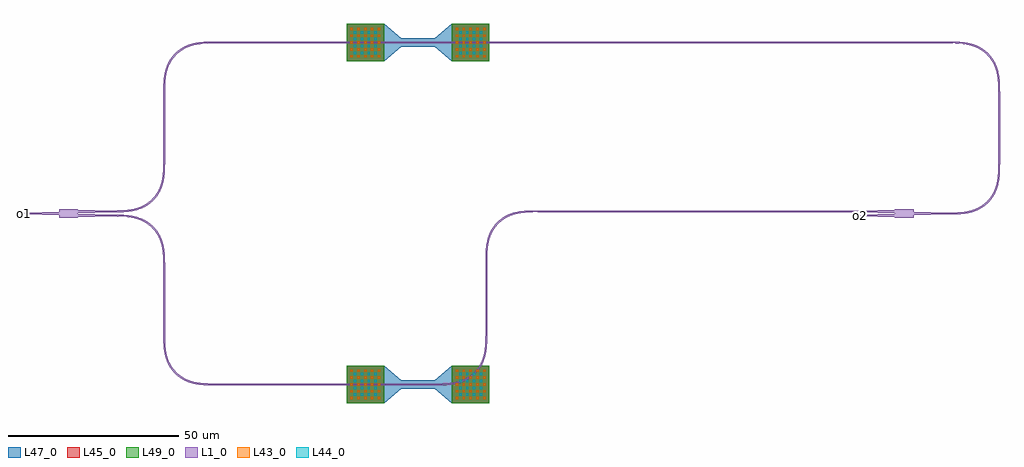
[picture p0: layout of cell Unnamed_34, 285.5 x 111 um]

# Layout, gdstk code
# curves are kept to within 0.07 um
from math import pi, radians
import gdstk
lib = gdstk.Library(unit=1e-6, precision=1e-09)
def R(c, l, rs):  # rectangles x0, y0, x1, y1
    for r in rs: c.add(gdstk.rectangle(r[:2], r[2:], *l))
def A(c, l, x, y, w, h, nx, ny, dx, dy):  # array of equal rectangles
    R(c, l, [(x+i*dx, y+j*dy, x+i*dx+w, y+j*dy+h) for i in range(nx) for j in range(ny)])
def P(c, l, *ps):  # polygons
    for p in ps: c.add(gdstk.Polygon(p, *l))
L1_0 = (1, 0)
L43_0 = (43, 0)
L44_0 = (44, 0)
L45_0 = (45, 0)
L47_0 = (47, 0)
L49_0 = (49, 0)

mmi1x2_wnone_wt1_lt10_l_ = lib.new_cell('mmi1x2_WNone_WT1_LT10_L_4e0f7121')
P(mmi1x2_wnone_wt1_lt10_l_, L1_0, [(0,-1.25),(0,-0.5),(-10,-0.25),(-10,0.25),(0,0.5),(0,1.25),(5.5,1.25),(5.5,1.125),(15.5,0.875),(15.5,0.375),(5.5,0.125),(5.5,-0.125),(15.5,-0.375),(15.5,-0.875),(5.5,-1.125),(5.5,-1.25)])

straight_heater_metal_u_ = lib.new_cell('straight_heater_metal_u_385113d0')
R(straight_heater_metal_u_, L1_0, [(0,-0.25,10,0.25)])
A(straight_heater_metal_u_, L43_0, -14.75, -4.35, 0.7, 0.7, 5, 5, 2, 2)
A(straight_heater_metal_u_, L43_0, 16.05, -4.35, 0.7, 0.7, 5, 5, 2, 2)
A(straight_heater_metal_u_, L44_0, -13.75, -3.35, 0.7, 0.7, 4, 4, 2, 2)
A(straight_heater_metal_u_, L44_0, 17.05, -3.35, 0.7, 0.7, 4, 4, 2, 2)
R(straight_heater_metal_u_, L45_0, [(-15.9,-5.5,-4.9,5.5), (14.9,-5.5,25.9,5.5)])
P(straight_heater_metal_u_, L47_0, [(-15.9,-5.5),(-15.9,5.5),(-4.9,5.5),(0.1,1.25),(9.9,1.25),(14.9,5.5),(25.9,5.5),(25.9,-5.5),(14.9,-5.5),(9.9,-1.25),(0.1,-1.25),(-4.9,-5.5)])
R(straight_heater_metal_u_, L49_0, [(-15.9,-5.5,-4.9,5.5), (14.9,-5.5,25.9,5.5)])

bend_euler_r15_a90_p0p5_ = lib.new_cell('bend_euler_R15_A90_P0p5_3fb75c97')
P(bend_euler_r15_a90_p0p5_, L1_0, [(0,-0.25),(0,0.25),(2.31,0.273),(4.332,0.406),(5.924,0.652),(7.346,1.03),(8.467,1.471),(9.541,2.045),(10.54,2.741),(11.45,3.55),(12.259,4.46),(12.955,5.459),(13.529,6.533),(13.97,7.654),(14.348,9.076),(14.594,10.668),(14.727,12.69),(14.75,15),(15.25,15),(15.222,12.537),(15.106,10.752),(14.891,9.246),(14.569,7.896),(14.099,6.583),(13.527,5.441),(12.739,4.262),(11.804,3.196),(10.738,2.261),(9.559,1.473),(8.417,0.901),(7.104,0.431),(5.754,0.109),(4.248,-0.106),(2.463,-0.222)])

straight_l0p25_n2_csstri = lib.new_cell('straight_L0p25_N2_CSstrip_WNone')
R(straight_l0p25_n2_csstri, L1_0, [(0,-0.25,0.25,0.25)])

straight_l19p375_n2_css_ = lib.new_cell('straight_L19p375_N2_CSs_3cf19edc')
R(straight_l19p375_n2_css_, L1_0, [(0,-0.25,19.375,0.25)])

straight_l54p25_n2_csstr = lib.new_cell('straight_L54p25_N2_CSstrip_WNone')
R(straight_l54p25_n2_csstr, L1_0, [(0,-0.25,54.25,0.25)])

c_bend_euler_r15_a90_p0p5_ = lib.new_cell('bend_euler_R15_A90_P0p5_14998747')
P(c_bend_euler_r15_a90_p0p5_, L1_0, [(0,-0.25),(0,0.25),(2.31,0.273),(4.332,0.406),(5.924,0.652),(7.346,1.03),(8.467,1.471),(9.541,2.045),(10.54,2.741),(11.45,3.55),(12.259,4.46),(12.955,5.459),(13.529,6.533),(13.97,7.654),(14.348,9.076),(14.594,10.668),(14.727,12.69),(14.75,15),(15.25,15),(15.222,12.537),(15.106,10.752),(14.891,9.246),(14.569,7.896),(14.099,6.583),(13.527,5.441),(12.739,4.262),(11.804,3.196),(10.738,2.261),(9.559,1.473),(8.417,0.901),(7.104,0.431),(5.754,0.109),(4.248,-0.106),(2.463,-0.222)])

straight_l150_n2_csstrip = lib.new_cell('straight_L150_N2_CSstrip_WNone')
R(straight_l150_n2_csstrip, L1_0, [(0,-0.25,150,0.25)])

straight_l20_n2_csstrip_ = lib.new_cell('straight_L20_N2_CSstrip_WNone')
R(straight_l20_n2_csstrip_, L1_0, [(0,-0.25,20,0.25)])

straight_l20p625_n2_css_ = lib.new_cell('straight_L20p625_N2_CSs_880e1511')
R(straight_l20p625_n2_css_, L1_0, [(0,-0.25,20.625,0.25)])

straight_l94p5_n2_csstri = lib.new_cell('straight_L94p5_N2_CSstrip_WNone')
R(straight_l94p5_n2_csstri, L1_0, [(0,-0.25,94.5,0.25)])

unnamed_34 = lib.new_cell('Unnamed_34')
P(unnamed_34, L1_0, [(-10,-0.25),(-10.25,0),(-10.062,0.188),(-10.025,0.188),(-10.215,0),(-10.025,0),(-10.025,0.188),(-10.062,0.188),(-10,0.25)],
  [(234.5,-0.875),(234.25,-0.625),(234.438,-0.437),(234.475,-0.437),(234.285,-0.625),(234.475,-0.625),(234.475,-0.437),(234.438,-0.437),(234.5,-0.375)])
unnamed_34.add(gdstk.Reference(mmi1x2_wnone_wt1_lt10_l_, (0,0)))
unnamed_34.add(gdstk.Reference(mmi1x2_wnone_wt1_lt10_l_, (250,0), rotation=pi, x_reflection=True))
unnamed_34.add(gdstk.Reference(straight_heater_metal_u_, (100,50)))
unnamed_34.add(gdstk.Reference(straight_heater_metal_u_, (100,-50)))
unnamed_34.add(gdstk.Reference(bend_euler_r15_a90_p0p5_, (30.75,15.625), rotation=3*pi/2, x_reflection=True))
unnamed_34.add(gdstk.Reference(straight_l0p25_n2_csstri, (15.75,0.625), rotation=pi))
unnamed_34.add(gdstk.Reference(bend_euler_r15_a90_p0p5_, (45.75,50), rotation=pi))
unnamed_34.add(gdstk.Reference(straight_l19p375_n2_css_, (30.75,35), rotation=3*pi/2))
unnamed_34.add(gdstk.Reference(straight_l54p25_n2_csstr, (45.75,50)))
unnamed_34.add(gdstk.Reference(bend_euler_r15_a90_p0p5_, (30.75,-15.625), rotation=pi/2))
unnamed_34.add(gdstk.Reference(straight_l0p25_n2_csstri, (15.75,-0.625), rotation=pi))
unnamed_34.add(gdstk.Reference(bend_euler_r15_a90_p0p5_, (45.75,-50), rotation=pi, x_reflection=True))
unnamed_34.add(gdstk.Reference(straight_l19p375_n2_css_, (30.75,-35), rotation=pi/2))
unnamed_34.add(gdstk.Reference(straight_l54p25_n2_csstr, (45.75,-50)))
unnamed_34.add(gdstk.Reference(c_bend_euler_r15_a90_p0p5_, (275,35), rotation=pi/2))
unnamed_34.add(gdstk.Reference(straight_l150_n2_csstrip, (260,50), rotation=pi))
unnamed_34.add(gdstk.Reference(c_bend_euler_r15_a90_p0p5_, (260,0)))
unnamed_34.add(gdstk.Reference(straight_l20_n2_csstrip_, (275,15), rotation=pi/2))
unnamed_34.add(gdstk.Reference(c_bend_euler_r15_a90_p0p5_, (125,-35), rotation=3*pi/2, x_reflection=True))
unnamed_34.add(gdstk.Reference(c_bend_euler_r15_a90_p0p5_, (140,0.625), rotation=pi))
unnamed_34.add(gdstk.Reference(straight_l20p625_n2_css_, (125,-14.375), rotation=3*pi/2))
unnamed_34.add(gdstk.Reference(straight_l94p5_n2_csstri, (140,0.625)))
unnamed_34.add(gdstk.Label('o1', (-10,0), layer=1, texttype=0))
unnamed_34.add(gdstk.Label('o2', (234.5,-0.625), layer=1, texttype=0))

lib.write_gds('Unnamed_34.gds')
